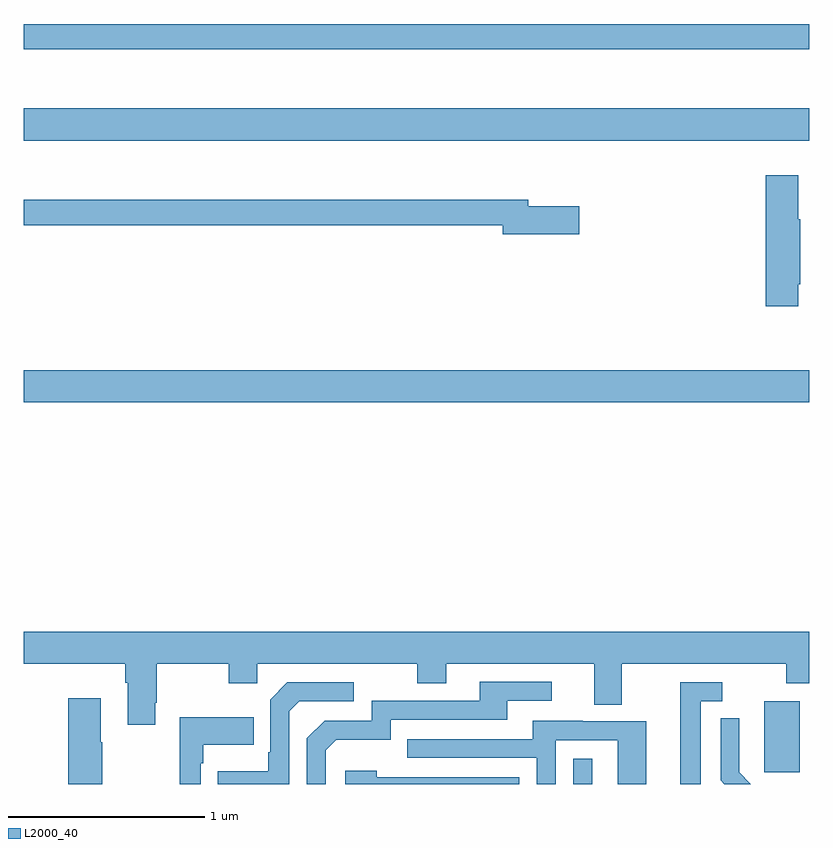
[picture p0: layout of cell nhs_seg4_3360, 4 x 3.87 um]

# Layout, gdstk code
import gdstk
lib = gdstk.Library(unit=1e-6, precision=1e-09)
def R(c, l, rs):  # rectangles x0, y0, x1, y1
    for r in rs: c.add(gdstk.rectangle(r[:2], r[2:], *l))
def P(c, l, *ps):  # polygons
    for p in ps: c.add(gdstk.Polygon(p, *l))
L2000_40 = (2000, 40)

nhs_seg4_3360 = lib.new_cell('nhs_seg4_3360')
R(nhs_seg4_3360, L2000_40, [(291.798,770.9,291.895,771.028), (292.772,770.961,292.951,771.322), (289,772.844,293,773.008), (289,774.176,293,774.34), (289,774.642,293,774.77)])
P(nhs_seg4_3360, L2000_40, [(292.945,773.446),(292.953,773.446),(292.953,773.777),(292.945,773.777),(292.945,774.001),(292.778,774.001),(292.778,773.334),(292.945,773.334)],
  [(291.829,773.841),(291.568,773.841),(291.568,773.875),(289,773.875),(289,773.746),(291.44,773.746),(291.44,773.699),(291.829,773.699)],
  [(289,771.512),(289.517,771.512),(289.517,771.416),(289.529,771.416),(289.529,771.201),(289.669,771.201),(289.669,771.313),(289.677,771.313),(289.677,771.512),(290.044,771.512),(290.044,771.413),(290.19,771.413),(290.19,771.512),(291.004,771.512),(291.004,771.413),(291.151,771.413),(291.151,771.512),(291.905,771.512),(291.905,771.304),(292.045,771.304),(292.045,771.512),(292.882,771.512),(292.882,771.413),(293,771.413),(293,771.676),(289,771.676)],
  [(290.538,771.072),(290.591,771.125),(290.868,771.125),(290.868,771.228),(291.463,771.228),(291.463,771.324),(291.688,771.324),(291.688,771.42),(291.323,771.42),(291.323,771.324),(290.772,771.324),(290.772,771.222),(290.532,771.222),(290.442,771.132),(290.442,770.9),(290.538,770.9)],
  [(290.352,771.27),(290.403,771.321),(290.68,771.321),(290.68,771.417),(290.343,771.417),(290.256,771.33),(290.256,771.061),(290.244,771.061),(290.244,770.965),(289.987,770.965),(289.987,770.9),(290.352,770.9)],
  [(292.447,771.321),(292.558,771.321),(292.558,771.417),(292.343,771.417),(292.343,770.9),(292.447,770.9)],
  [(289.401,771.113),(289.393,771.113),(289.393,771.337),(289.226,771.337),(289.226,770.9),(289.401,770.9)],
  [(289.902,771.005),(289.915,771.005),(289.915,771.101),(290.171,771.101),(290.171,771.241),(289.794,771.241),(289.794,770.9),(289.902,770.9)],
  [(292.643,770.96),(292.643,771.082),(292.644,771.082),(292.644,771.236),(292.548,771.236),(292.548,770.918),(292.566,770.9),(292.702,770.9)],
  [(291.708,771.123),(292.026,771.123),(292.026,770.9),(292.171,770.9),(292.171,771.219),(291.847,771.219),(291.847,771.223),(291.593,771.223),(291.593,771.129),(290.953,771.129),(290.953,771.033),(291.612,771.033),(291.612,770.9),(291.708,770.9)],
  [(291.522,770.934),(290.798,770.934),(290.798,770.968),(290.637,770.968),(290.637,770.9),(291.522,770.9)])

lib.write_gds('nhs_seg4_3360.gds')
